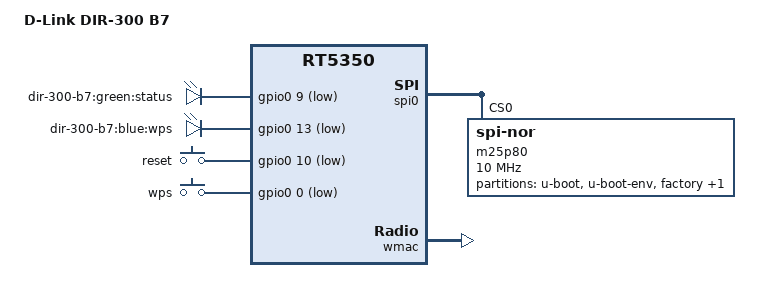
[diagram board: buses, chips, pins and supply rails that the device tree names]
/dts-v1/;

#include "rt5350.dtsi"

#include <dt-bindings/gpio/gpio.h>
#include <dt-bindings/input/input.h>

/ {
	compatible = "dlink,dir-300-b7", "ralink,rt5350-soc";
	model = "D-Link DIR-300 B7";

	aliases {
		led-boot = &led_status;
		led-failsafe = &led_status;
		led-running = &led_status;
		led-upgrade = &led_status;
	};

	gpio-leds {
		compatible = "gpio-leds";

		led_status: status {
			label = "dir-300-b7:green:status";
			gpios = <&gpio0 9 GPIO_ACTIVE_LOW>;
		};

		wps {
			label = "dir-300-b7:blue:wps";
			gpios = <&gpio0 13 GPIO_ACTIVE_LOW>;
		};
	};

	gpio-keys-polled {
		compatible = "gpio-keys-polled";
		poll-interval = <20>;

		reset {
			label = "reset";
			gpios = <&gpio0 10 GPIO_ACTIVE_LOW>;
			linux,code = <KEY_RESTART>;
		};

		wps {
			label = "wps";
			gpios = <&gpio0 0 GPIO_ACTIVE_LOW>;
			linux,code = <KEY_WPS_BUTTON>;
		};
	};
};

&spi0 {
	status = "okay";

	m25p80@0 {
		compatible = "jedec,spi-nor";
		reg = <0>;
		spi-max-frequency = <10000000>;

		partitions {
			compatible = "fixed-partitions";
			#address-cells = <1>;
			#size-cells = <1>;

			partition@0 {
				label = "u-boot";
				reg = <0x0 0x30000>;
				read-only;
			};

			partition@30000 {
				label = "u-boot-env";
				reg = <0x30000 0x10000>;
				read-only;
			};

			factory: partition@40000 {
				label = "factory";
				reg = <0x40000 0x10000>;
				read-only;
			};

			partition@50000 {
				compatible = "denx,uimage";
				label = "firmware";
				reg = <0x50000 0x7b0000>;
			};
		};
	};
};

&pinctrl {
	state_default: pinctrl0 {
		gpio {
			ralink,group = "i2c", "jtag", "uartf";
			ralink,function = "gpio";
		};
	};
};

&ethernet {
	mtd-mac-address = <&factory 0x4>;
};

&esw {
	mediatek,portmap = <0x2f>;
	mediatek,led_polarity = <0x17>;
};

&wmac {
	status = "okay";
	ralink,led-polarity = <1>;
	ralink,mtd-eeprom = <&factory 0>;
};
